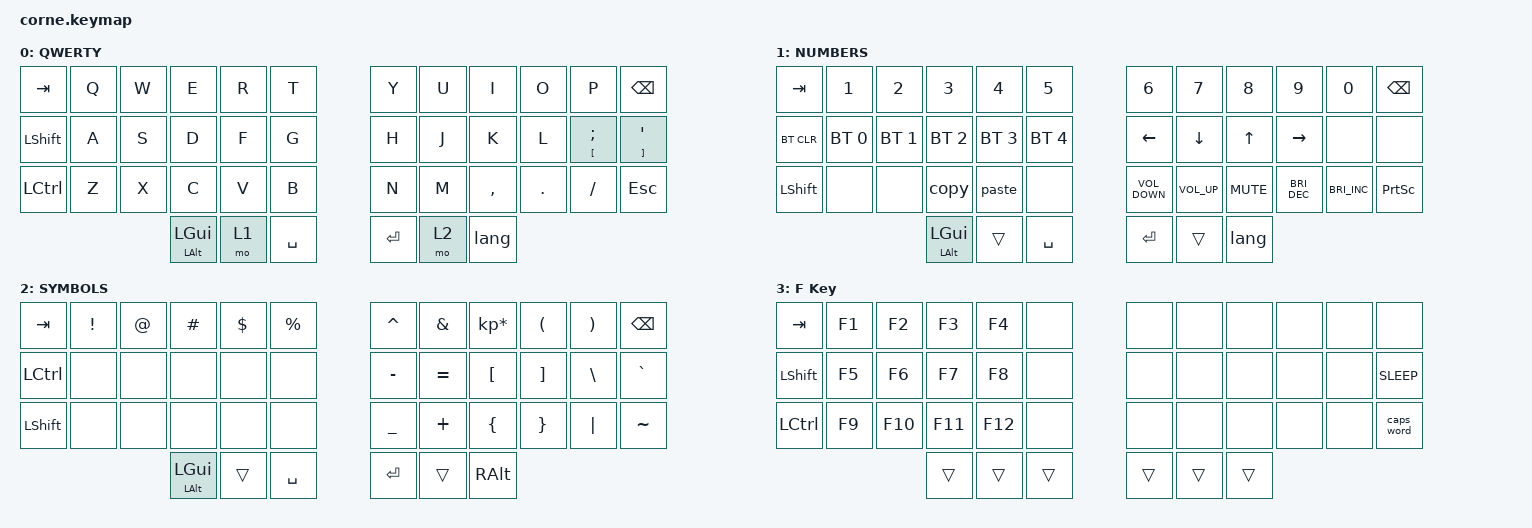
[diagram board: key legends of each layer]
/*
 * Copyright (c) 2020 The ZMK Contributors
 *
 * SPDX-License-Identifier: MIT
 */

#include <behaviors.dtsi>
#include <dt-bindings/zmk/bt.h>
#include <dt-bindings/zmk/keys.h>

/ {
    macros {
        copy: copy {
            compatible = "zmk,behavior-macro";
            #binding-cells = <0>;
            bindings = <&kp LC(C)>;
            label = "COPY";
        };

        paste: paste {
            compatible = "zmk,behavior-macro";
            #binding-cells = <0>;
            bindings = <&kp LG(V)>;
            label = "PASTE";
        };

        lang: lang {
            compatible = "zmk,behavior-macro";
            #binding-cells = <0>;
            bindings = <&kp LA(LEFT_SHIFT)>;
            label = "LANG";
        };
    };

    combos {
        compatible = "zmk,combos";

        mo_layer_3 {
            bindings = <&mo 3>;
            key-positions = <37 40>;
        };
    };

    keymap {
        compatible = "zmk,keymap";

        default_layer {
            // -----------------------------------------------------------------------------------------
            // |  TAB |  Q  |  W  |  E  |  R  |  T  |   |  Y  |  U   |  I  |  O  |  P  | BKSP |
            // | CTRL |  A  |  S  |  D  |  F  |  G  |   |  H  |  J   |  K  |  L  |  ;  |  '   |
            // | SHFT |  Z  |  X  |  C  |  V  |  B  |   |  N  |  M   |  ,  |  .  |  /  | ESC  |
            //                    | GUI | LWR | SPC |   | ENT | RSE  | ALT |

            display-name = "QWERTY";
            bindings = <
&kp TAB           &kp Q  &kp W  &kp E                  &kp R  &kp T        &kp Y    &kp U  &kp I      &kp O    &kp P                  &kp BSPC
&kp LEFT_SHIFT    &kp A  &kp S  &kp D                  &kp F  &kp G        &kp H    &kp J  &kp K      &kp L    &mt LEFT_BRACKET SEMI  &mt RIGHT_BRACKET SQT
&kp LEFT_CONTROL  &kp Z  &kp X  &kp C                  &kp V  &kp B        &kp N    &kp M  &kp COMMA  &kp DOT  &kp FSLH               &kp ESC
                                &mt LEFT_ALT LEFT_GUI  &mo 1  &kp SPACE    &kp RET  &mo 2  &lang
            >;
        };

        lower_layer {
            // -----------------------------------------------------------------------------------------
            // |  TAB |  1  |  2  |  3  |  4  |  5  |   |  6  |  7  |  8  |  9  |  0  | BKSP |
            // | BTCLR| BT1 | BT2 | BT3 | BT4 | BT5 |   | LFT | DWN |  UP | RGT |     |      |
            // | SHFT |     |     |     |     |     |   |     |     |     |     |     |      |
            //                    | GUI |     | SPC |   | ENT |     | ALT |

            display-name = "NUMBERS";
            bindings = <
&kp TAB     &kp N1        &kp N2        &kp N3                 &kp N4        &kp N5          &kp N6             &kp N7           &kp N8      &kp N9                &kp N0                &kp BSPC
&bt BT_CLR  &bt BT_SEL 0  &bt BT_SEL 1  &bt BT_SEL 2           &bt BT_SEL 3  &bt BT_SEL 4    &kp LEFT           &kp DOWN         &kp UP      &kp RIGHT             &none                 &none
&kp LSHFT   &none         &none         &copy                  &paste        &none           &kp C_VOLUME_DOWN  &kp C_VOLUME_UP  &kp C_MUTE  &kp C_BRIGHTNESS_DEC  &kp C_BRIGHTNESS_INC  &kp PRINTSCREEN
                                        &mt LEFT_ALT LEFT_GUI  &trans        &kp SPACE       &kp RET            &trans           &lang
            >;
        };

        raise_layer {
            // -----------------------------------------------------------------------------------------
            // |  TAB |  !  |  @  |  #  |  $  |  %  |   |  ^  |  &  |  *  |  (  |  )  | BKSP |
            // | CTRL |     |     |     |     |     |   |  -  |  =  |  [  |  ]  |  \  |  `   |
            // | SHFT |     |     |     |     |     |   |  _  |  +  |  {  |  }  | "|" |  ~   |
            //                    | GUI |     | SPC |   | ENT |     | ALT |

            display-name = "SYMBOLS";
            bindings = <
&kp TAB    &kp EXCL  &kp AT  &kp HASH               &kp DLLR  &kp PRCNT    &kp CARET  &kp AMPS   &kp KP_MULTIPLY  &kp LPAR  &kp RPAR  &kp BSPC
&kp LCTRL  &none     &none   &none                  &none     &none        &kp MINUS  &kp EQUAL  &kp LBKT         &kp RBKT  &kp BSLH  &kp GRAVE
&kp LSHFT  &none     &none   &none                  &none     &none        &kp UNDER  &kp PLUS   &kp LBRC         &kp RBRC  &kp PIPE  &kp TILDE
                             &mt LEFT_ALT LEFT_GUI  &trans    &kp SPACE    &kp RET    &trans     &kp RALT
            >;
        };

        F_Row {
            bindings = <
&kp TAB         &kp F1  &kp F2   &kp F3   &kp F4   &none     &none   &none   &none   &none  &none  &none
&kp LEFT_SHIFT  &kp F5  &kp F6   &kp F7   &kp F8   &none     &none   &none   &none   &none  &none  &kp K_SLEEP
&kp LCTRL       &kp F9  &kp F10  &kp F11  &kp F12  &none     &none   &none   &none   &none  &none  &caps_word
                                 &trans   &trans   &trans    &trans  &trans  &trans
            >;

            label = "F Key";
        };
    };
};
